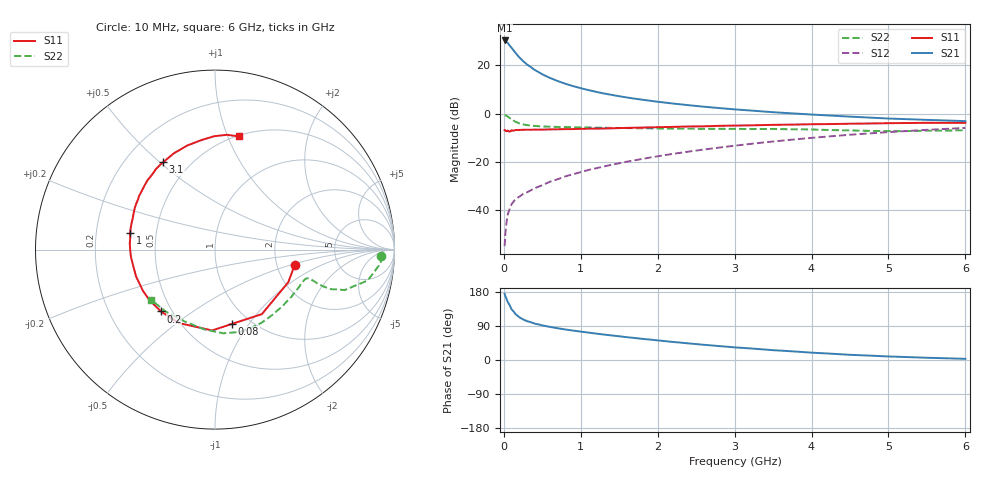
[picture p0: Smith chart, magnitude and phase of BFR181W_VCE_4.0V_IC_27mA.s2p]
! Infineon Technologies  Discrete & RF Semiconductors
! BFR181W
! VCE =  4.0 V,  IC =  27 mA
! Common Emitter S-Parameters:  Jan 2017
# GHz  S  MA  R  50
!  f  S11  S21  S12  S22
! GHz  MAG  ANG  MAG  ANG  MAG  ANG  MAG  ANG
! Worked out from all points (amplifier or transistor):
!   77 points, 10 MHz to 6 GHz, reference 50 ohm
!   highest |S21| = 30.2 dB at 10 MHz (marker M1)
!   |S21| within 3 dB of that: start of sweep to 99.61 MHz
!   unconditionally stable (mu >= 1): 334.2 MHz to 2.618 GHz
!   at 130 MHz: K = 0.59, MSG = 31.2 dB, |S12| = -36.3 dB
!   at 2.2 GHz: K = 1.06, MAG = 8.9 dB, |S12| = -16.7 dB
!   at 6 GHz: K = 0.92, MSG = 1.4 dB, |S12| = -5.9 dB
!   S11 on the Smith chart (normalised r, x): 10 MHz: 2.52, -0.54; 80 MHz: 0.83, -0.84; 200 MHz: 0.44, -0.38; 1 GHz: 0.35, +0.09; 3.1 GHz: 0.36, +0.51; 6 GHz: 0.51, +1.10
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0.01  0.4524 -10.8  32.52 174.8  0.0018 83.4  0.9275 -2.1
0.02  0.4469 -24.0  31.87 168.5  0.0032 88.2  0.9266 -4.7
0.05  0.4443 -54.0  29.06 153.3  0.008 72.2  0.868 -11.4
0.08  0.4247 -77.1  25.05 142.7  0.0111 63.9  0.8006 -14.7
0.1  0.4508 -92.1  22.98 133.7  0.0132 60.5  0.7574 -17.3
0.15  0.4559 -116.2  18.12 121.5  0.0167 61.0  0.6774 -18.9
0.2  0.4577 -131.2  14.6 113.0  0.019 59.2  0.6277 -18.7
0.25  0.4608 -142.3  12.18 107.1  0.0216 59.6  0.5974 -18.2
0.3  0.4626 -150.1  10.37 102.6  0.0233 60.8  0.5761 -17.6
0.4  0.4645 -161.3  8.006 96.1  0.0284 65.8  0.5533 -17.1
0.5  0.4646 -168.8  6.474 91.3  0.0329 68.7  0.541 -17.2
0.6  0.4701 -174.9  5.449 87.3  0.0389 70.4  0.5335 -17.6
0.7  0.4723 -179.5  4.696 83.8  0.0437 72.6  0.5276 -18.3
0.8  0.4762 175.8  4.139 80.5  0.0501 74.9  0.5236 -19.4
1  0.4818 168.9  3.347 74.9  0.0612 76.9  0.5155 -21.9
1.1  0.4852 165.4  3.056 72.3  0.068 77.6  0.5141 -23.3
1.5  0.4996 154.5  2.28 62.6  0.0936 78.9  0.5019 -29.7
2.1  0.5248 140.3  1.68 49.7  0.1383 78.1  0.4882 -41.6
3.1  0.5659 120.7  1.187 32.0  0.2251 72.1  0.4795 -64.0
4.1  0.6023 103.3  0.934 18.3  0.323 62.6  0.4626 -86.9
5.1  0.6332 89.2  0.778 8.7  0.4216 50.9  0.4331 -116.1
6  0.6443 78.1  0.697 3.1  0.5042 39.7  0.4527 -142.0
